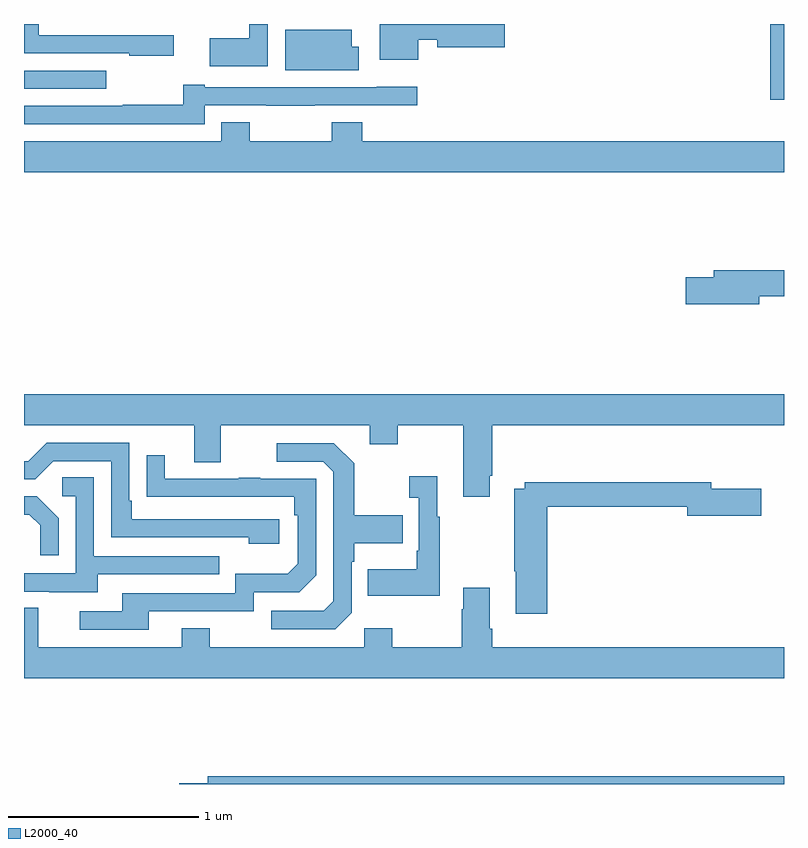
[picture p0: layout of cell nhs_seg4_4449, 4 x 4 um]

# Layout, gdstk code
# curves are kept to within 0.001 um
import gdstk
lib = gdstk.Library(unit=1e-6, precision=1e-09)
def R(c, l, rs):  # rectangles x0, y0, x1, y1
    for r in rs: c.add(gdstk.rectangle(r[:2], r[2:], *l))
def P(c, l, *ps):  # polygons
    for p in ps: c.add(gdstk.Polygon(p, *l))
L2000_40 = (2000, 40)

nhs_seg4_4449 = lib.new_cell('nhs_seg4_4449')
R(nhs_seg4_4449, L2000_40, [(352.927,830.501,353,830.9), (349,830.559,349.432,830.655)])
P(nhs_seg4_4449, L2000_40, [(351.076,830.818),(351.176,830.818),(351.176,830.777),(351.529,830.777),(351.529,830.9),(350.873,830.9),(350.873,830.711),(351.076,830.711)],
  [(350.283,830.9),(350.186,830.9),(350.186,830.824),(349.977,830.824),(349.977,830.678),(350.283,830.678)],
  [(349.789,830.841),(349.078,830.841),(349.078,830.9),(349,830.9),(349,830.745),(349.553,830.745),(349.553,830.732),(349.789,830.732)],
  [(350.761,830.779),(350.725,830.779),(350.725,830.869),(350.375,830.869),(350.375,830.657),(350.761,830.657)],
  [(349.951,830.472),(350.275,830.472),(350.275,830.471),(350.531,830.471),(350.531,830.472),(351.07,830.472),(351.07,830.569),(350.857,830.569),(350.857,830.568),(349.951,830.568),(349.951,830.581),(349.837,830.581),(349.837,830.474),(349.519,830.474),(349.519,830.469),(349,830.469),(349,830.373),(349.951,830.373)],
  [(353,830.284),(350.78,830.284),(350.78,830.383),(350.62,830.383),(350.62,830.284),(350.187,830.284),(350.187,830.383),(350.039,830.383),(350.039,830.284),(349,830.284),(349,830.12),(353,830.12)],
  [(352.87,829.468),(353,829.468),(353,829.604),(352.631,829.604),(352.631,829.568),(352.482,829.568),(352.482,829.426),(352.87,829.426)],
  [(351.451,828.523),(351.464,828.523),(351.464,828.788),(353,828.788),(353,828.952),(349,828.952),(349,828.788),(349.895,828.788),(349.895,828.594),(350.035,828.594),(350.035,828.788),(350.819,828.788),(350.819,828.689),(350.967,828.689),(350.967,828.788),(351.311,828.788),(351.311,828.411),(351.451,828.411)],
  [(350.344,828.294),(349.567,828.294),(349.567,828.391),(349.554,828.391),(349.554,828.696),(349.119,828.696),(349.023,828.6),(349,828.6),(349,828.504),(349.059,828.504),(349.155,828.6),(349.458,828.6),(349.458,828.198),(350.183,828.198),(350.183,828.164),(350.344,828.164)],
  [(350.724,827.802),(350.724,828.071),(350.737,828.071),(350.737,828.167),(350.993,828.167),(350.993,828.315),(350.737,828.315),(350.737,828.587),(350.631,828.693),(350.331,828.693),(350.331,828.597),(350.574,828.597),(350.628,828.543),(350.628,827.862),(350.577,827.811),(350.301,827.811),(350.301,827.715),(350.637,827.715)],
  [(349.657,827.808),(350.208,827.808),(350.208,827.91),(350.448,827.91),(350.538,828),(350.538,828.507),(350.243,828.507),(350.243,828.512),(350.131,828.512),(350.131,828.507),(349.741,828.507),(349.741,828.631),(349.645,828.631),(349.645,828.412),(350.422,828.411),(350.422,828.314),(350.442,828.314),(350.442,828.06),(350.389,828.007),(350.112,828.007),(350.112,827.904),(349.517,827.904),(349.517,827.808),(349.293,827.808),(349.293,827.712),(349.657,827.712)],
  [(351.187,828.307),(351.175,828.307),(351.175,828.52),(351.027,828.52),(351.027,828.407),(351.078,828.407),(351.078,828.127),(351.066,828.127),(351.066,828.031),(350.809,828.031),(350.809,827.891),(351.187,827.891)],
  [(349.387,828.003),(350.027,828.003),(350.027,828.099),(349.368,828.099),(349.368,828.515),(349.2,828.515),(349.2,828.414),(349.272,828.414),(349.272,828.009),(349,828.009),(349,827.913),(349.133,827.913),(349.133,827.909),(349.387,827.909)],
  [(351.755,828.358),(352.49,828.358),(352.49,828.311),(352.879,828.311),(352.879,828.453),(352.618,828.453),(352.618,828.487),(351.636,828.487),(351.636,828.454),(351.58,828.454),(351.58,828.019),(351.587,828.019),(351.587,827.796),(351.755,827.796)],
  [(349.182,828.298),(349.066,828.414),(349,828.414),(349,828.318),(349.028,828.318),(349.085,828.261),(349.085,828.105),(349.182,828.105)],
  [(353,827.62),(351.464,827.62),(351.464,827.716),(351.451,827.716),(351.451,827.932),(351.311,827.932),(351.311,827.819),(351.304,827.819),(351.304,827.62),(350.937,827.62),(350.937,827.719),(350.79,827.719),(350.79,827.62),(349.977,827.62),(349.977,827.719),(349.829,827.719),(349.829,827.62),(349.075,827.62),(349.075,827.828),(349,827.828),(349,827.456),(353,827.456)],
  [(353,826.94),(349.967,826.94),(349.967,826.904),(349.818,826.904),(349.818,826.9),(353,826.9)])

lib.write_gds('nhs_seg4_4449.gds')
